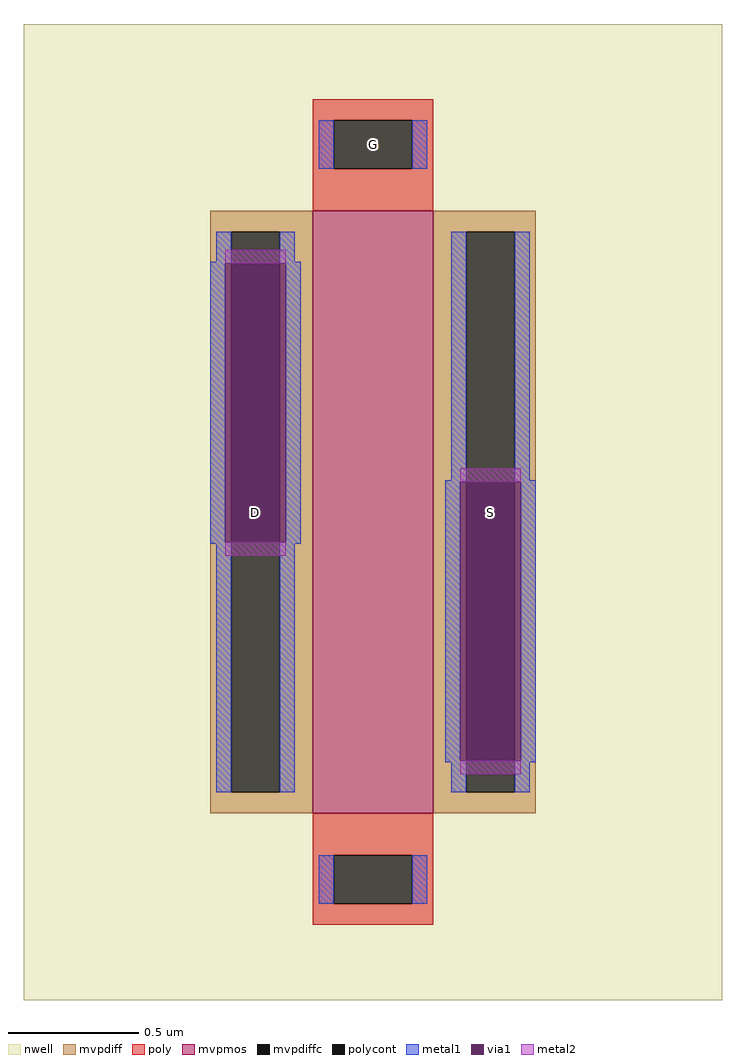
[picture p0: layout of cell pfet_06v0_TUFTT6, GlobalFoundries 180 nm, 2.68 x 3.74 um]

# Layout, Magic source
magic
tech gf180mcuD
magscale 3 26
<< nwell >>
rect -232 -324 232 324
<< mvpmos >>
rect -40 -200 40 200
<< mvpdiff >>
rect -108 186 -40 200
rect -108 -186 -94 186
rect -62 -186 -40 186
rect -108 -200 -40 -186
rect 40 186 108 200
rect 40 -186 62 186
rect 94 -186 108 186
rect 40 -200 108 -186
<< mvpdiffc >>
rect -94 -186 -62 186
rect 62 -186 94 186
<< poly >>
rect -40 260 40 274
rect -40 228 -26 260
rect 26 228 40 260
rect -40 200 40 228
rect -40 -228 40 -200
rect -40 -260 -26 -228
rect 26 -260 40 -228
rect -40 -274 40 -260
<< polycont >>
rect -26 228 26 260
rect -26 -260 26 -228
<< metal1 >>
rect -36 228 -26 260
rect 26 228 36 260
rect -104 166 -94 186
rect -108 165 -94 166
rect -62 166 -52 186
rect -62 165 -48 166
rect -108 -20 -98 165
rect -58 -20 -48 165
rect 52 21 62 186
rect -108 -21 -94 -20
rect -104 -186 -94 -21
rect -62 -21 -48 -20
rect 48 20 62 21
rect 94 21 104 186
rect 94 20 108 21
rect -62 -186 -52 -21
rect 48 -165 58 20
rect 98 -165 108 20
rect 48 -166 62 -165
rect 52 -186 62 -166
rect 94 -166 108 -165
rect 94 -186 104 -166
rect -36 -260 -26 -228
rect 26 -260 36 -228
<< via1 >>
rect -98 -20 -94 165
rect -94 -20 -62 165
rect -62 -20 -58 165
rect 58 -165 62 20
rect 62 -165 94 20
rect 94 -165 98 20
<< metal2 >>
rect -98 165 -58 174
rect -98 -29 -58 -20
rect 58 20 98 29
rect 58 -174 98 -165
<< labels >>
rlabel mvpdiffc -78 0 -78 0 0 D
port 1 nsew
rlabel mvpdiffc 78 0 78 0 0 S
port 2 nsew
rlabel polycont 0 244 0 244 0 G
port 3 nsew
<< properties >>
string gencell pfet_05v0
string library gf180mcu
string parameters w 2.0 l 0.4 m 1 ng 1 diffcov 100 polycov 100 guard 0 glc 1 grc 1 gtc 1 gbc 1 tbcov 100 rlcov 100 topc 1 botc 1 poverlap 0 doverlap 1 lmin 0.4 wmin 0.15 class mosfet compatible {pfet_05v0 pfet_06v0} full_metal 1 conn_gates 0 gate_ring 0 ccols 1 viasrc +50 viadrn -50 viagate 0 viagb 0 viagr 0 viagl 0 viagt 0 doports 1
<< end >>
